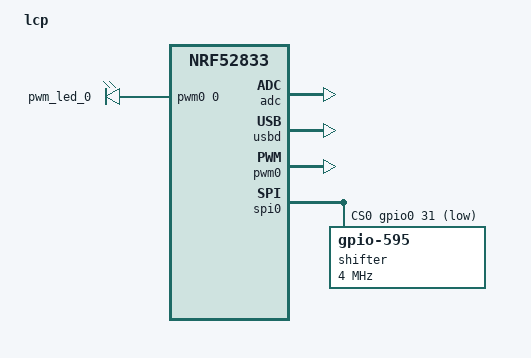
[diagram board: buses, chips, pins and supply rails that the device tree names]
/*
 * Copyright (c) 2024 The ZMK Contributors
 *
 * SPDX-License-Identifier: MIT
 */

/dts-v1/;

#include <nordic/nrf52833_qiaa.dtsi>
#include "mwave-pinctrl.dtsi"
#include "mwave-33-pinctrl.dtsi"
#include <dt-bindings/zmk/matrix_transform.h>
#include <dt-bindings/battery_chemistry.h>



/ {
    model = "lcp";
    compatible = "kinesis,lcp";

    chosen {
        zephyr,code-partition = &code_partition;
        zephyr,sram = &sram0;
        zephyr,flash = &flash0;
        //zephyr,console = &cdc_acm_uart;
        zmk,backlight = &backlight;
        zmk,battery = &vbatt;
    };

    backlight: pwmleds {
        compatible = "pwm-leds";
        pwm_led_0 {
            pwms = <&pwm0 0 10000 PWM_POLARITY_NORMAL>;
        };
    };

};

&adc {
    status = "okay";
};

&gpiote {
    status = "okay";
};

&gpio0 {
    status = "okay";
};

&gpio1 {
    status = "okay";
};

zephyr_udc0: &usbd {
    status = "okay";
};

// Single Colour Backlighting
&pwm0 {
    status = "okay";
    pinctrl-0 = <&pwm0_33_default>;
    pinctrl-1 = <&pwm0_33_sleep>;
    pinctrl-names = "default", "sleep";
};

&spi0 {
    status = "okay";
    compatible = "nordic,nrf-spim";
    pinctrl-0 = <&spi0_default>;
    pinctrl-1 = <&spi0_sleep>;
    pinctrl-names = "default", "sleep";
    cs-gpios = <&gpio0 31 GPIO_ACTIVE_LOW>;
	shifter: 595@0 {
		compatible = "zmk,gpio-595";
		status = "okay";
		gpio-controller;
		spi-max-frequency = <4000000>;
		reg = <0>;
		#gpio-cells = <2>;
		ngpios = <24>;
	};
};


&flash0 {
    /*
     * For more information, see:
     * http://docs.zephyrproject.org/latest/devices/dts/flash_partitions.html
     */
    partitions {
        compatible = "fixed-partitions";
        #address-cells = <1>;
        #size-cells = <1>;

        code_partition: partition@0 {
            reg = <0x00000000 0x0006c000>;
        };

        storage_partition: partition@6c000 {
            reg = <0x0006c000 0x00008000>;
        };
    };
};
